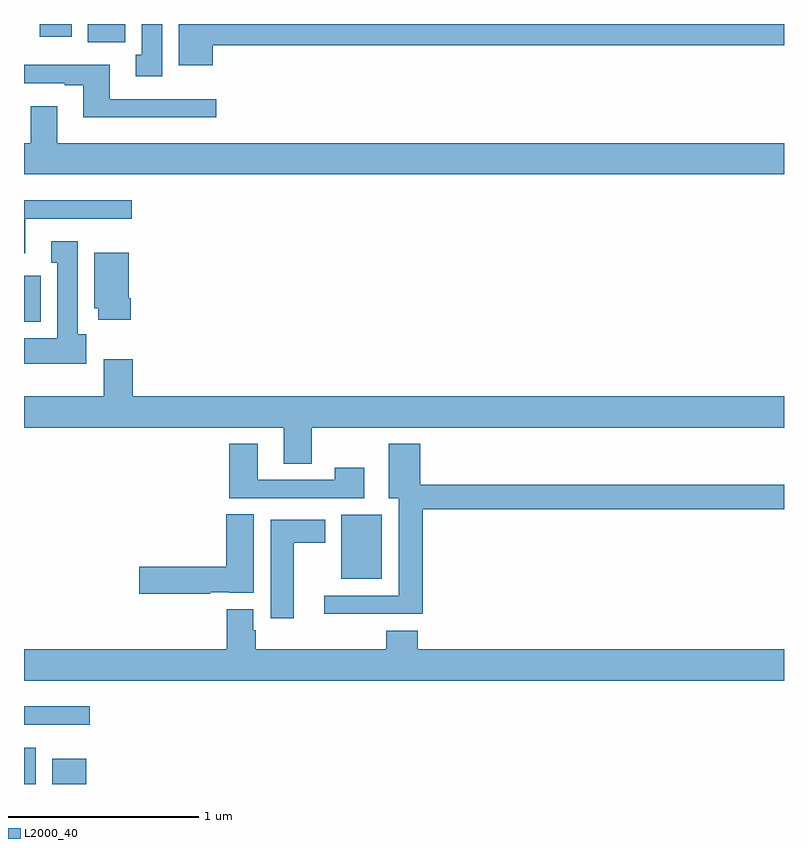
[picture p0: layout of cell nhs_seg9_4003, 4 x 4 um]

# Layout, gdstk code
import gdstk
lib = gdstk.Library(unit=1e-6, precision=1e-09)
def R(c, l, rs):  # rectangles x0, y0, x1, y1
    for r in rs: c.add(gdstk.rectangle(r[:2], r[2:], *l))
def P(c, l, *ps):  # polygons
    for p in ps: c.add(gdstk.Polygon(p, *l))
L2000_40 = (2000, 40)

nhs_seg9_4003 = lib.new_cell('nhs_seg9_4003')
R(nhs_seg9_4003, L2000_40, [(339,1238.5,339.061,1238.692), (339.149,1238.5,339.328,1238.632), (339,1238.811,339.346,1238.908), (340.67,1239.581,340.882,1239.916), (339,1240.934,339.088,1241.176), (339.335,1242.404,339.532,1242.5), (339.083,1242.432,339.25,1242.5)])
P(nhs_seg9_4003, L2000_40, [(339.727,1242.5),(339.62,1242.5),(339.62,1242.338),(339.587,1242.338),(339.587,1242.225),(339.727,1242.225)],
  [(339.994,1242.388),(343,1242.388),(343,1242.5),(339.815,1242.5),(339.815,1242.284),(339.994,1242.284)],
  [(340.012,1242.105),(339.451,1242.105),(339.451,1242.286),(339,1242.286),(339,1242.189),(339.215,1242.189),(339.215,1242.177),(339.311,1242.177),(339.311,1242.008),(340.012,1242.008)],
  [(343,1241.872),(339.175,1241.872),(339.175,1242.067),(339.035,1242.067),(339.035,1241.872),(339,1241.872),(339,1241.708),(343,1241.708)],
  [(339.007,1241.475),(339.568,1241.475),(339.568,1241.572),(339,1241.572),(339,1241.294),(339.007,1241.294)],
  [(339.328,1240.866),(339.283,1240.866),(339.283,1241.356),(339.143,1241.356),(339.143,1241.243),(339.176,1241.243),(339.176,1240.846),(339,1240.846),(339,1240.712),(339.328,1240.712)],
  [(339.563,1241.056),(339.55,1241.056),(339.55,1241.296),(339.371,1241.296),(339.371,1241.004),(339.392,1241.004),(339.392,1240.944),(339.563,1240.944)],
  [(340.515,1240.376),(343,1240.376),(343,1240.54),(339.572,1240.54),(339.572,1240.735),(339.419,1240.735),(339.419,1240.54),(339,1240.54),(339,1240.376),(340.367,1240.376),(340.367,1240.186),(340.515,1240.186)],
  [(341.099,1239.946),(343,1239.946),(343,1240.075),(341.086,1240.075),(341.086,1240.291),(340.919,1240.291),(340.919,1240.004),(340.973,1240.004),(340.973,1239.492),(340.581,1239.492),(340.581,1239.395),(341.099,1239.395)],
  [(340.792,1240.165),(340.636,1240.165),(340.636,1240.101),(340.231,1240.101),(340.231,1240.291),(340.079,1240.291),(340.079,1240.005),(340.792,1240.005)],
  [(339.98,1239.509),(340.08,1239.509),(340.08,1239.506),(340.21,1239.506),(340.21,1239.92),(340.064,1239.92),(340.064,1239.644),(339.606,1239.644),(339.606,1239.502),(339.98,1239.502)],
  [(340.42,1239.77),(340.585,1239.77),(340.585,1239.892),(340.298,1239.892),(340.298,1239.372),(340.42,1239.372)],
  [(343,1239.208),(341.072,1239.208),(341.072,1239.307),(340.907,1239.307),(340.907,1239.208),(340.22,1239.208),(340.22,1239.309),(340.207,1239.309),(340.207,1239.421),(340.067,1239.421),(340.067,1239.208),(339,1239.208),(339,1239.044),(343,1239.044)])

lib.write_gds('nhs_seg9_4003.gds')
